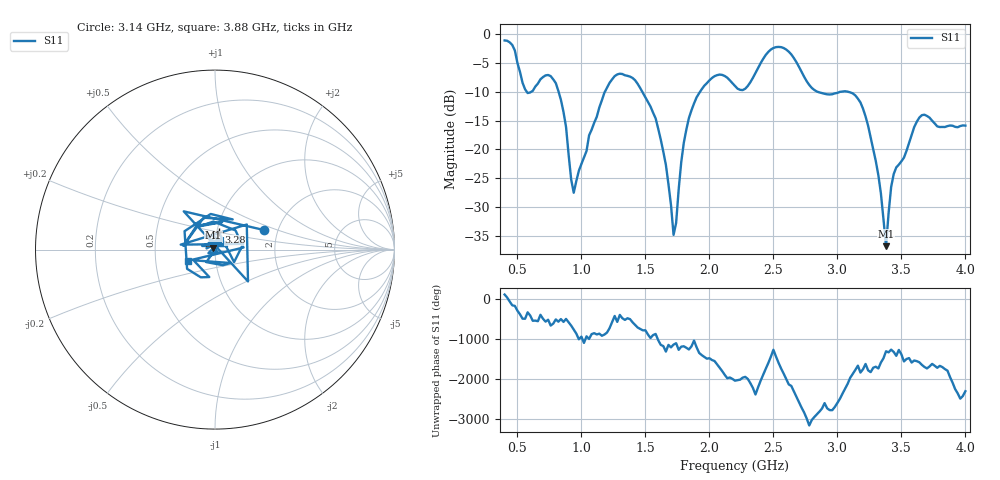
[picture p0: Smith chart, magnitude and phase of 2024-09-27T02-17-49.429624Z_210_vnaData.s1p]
!Created with skrf (http://scikit-rf.org).
# Hz S RI R 50.0
!freq ReS11 ImS11
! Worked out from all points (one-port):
!   181 points, 400 MHz to 4 GHz, reference 50 ohm
!   lowest |S11| = -36.7 dB at 3.38 GHz (marker M1), VSWR 1.03, Z = 49.1 + j1.08 ohm
!   |S11| at or under -10 dB: 821.6 MHz to 1.184 GHz (362.2 MHz wide, 36.1 % of centre); 1.475 GHz to 1.927 GHz (452.1 MHz wide, 26.6 % of centre); 3.081 GHz to end of sweep (the widest 3 of 5)
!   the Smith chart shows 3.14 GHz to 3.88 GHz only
!   S11 on the Smith chart (normalised r, x): 3.14 GHz: 1.69, +0.40; 3.28 GHz: 1.02, +0.20; 3.88 GHz: 0.74, -0.09
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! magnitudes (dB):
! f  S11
! 400 MHz  -1.1
! 580 MHz  -10.2
! 760 MHz  -7.3
! 860 MHz  -13.5
! 940 MHz  -27.5
! 1.18 GHz  -10.2
! 1.3 GHz  -6.9
! 1.58 GHz  -14.6
! 1.66 GHz  -22.7
! 1.72 GHz  -34.8
! 1.76 GHz  -26.9
! 1.82 GHz  -16.5
! 1.9 GHz  -11.0
! 2.06 GHz  -7.1
! 2.2 GHz  -9.0
! 2.5 GHz  -2.4
! 2.66 GHz  -4.2
! 2.84 GHz  -10.0
! 3.1 GHz  -10.1
! 3.14 GHz  -10.6
! 3.28 GHz  -19.9
! 3.34 GHz  -27.6
! 3.38 GHz  -36.7
! 3.44 GHz  -24.3
! 3.56 GHz  -18.8
! 3.66 GHz  -14.1
! 3.88 GHz  -15.9
! 4 GHz  -15.9
